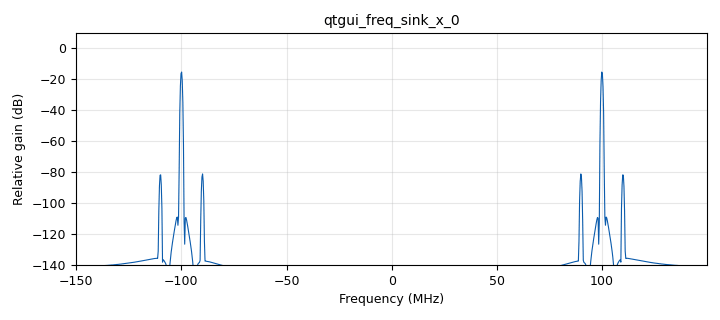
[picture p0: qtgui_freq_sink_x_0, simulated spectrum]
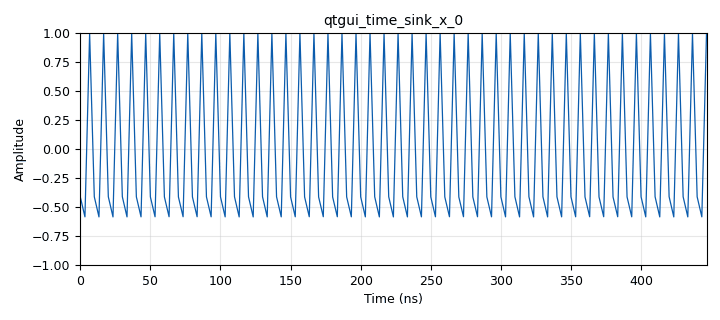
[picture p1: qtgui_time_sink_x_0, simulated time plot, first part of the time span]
<?xml version='1.0' encoding='utf-8'?>
<?grc format='1' created='3.7.9'?>
<flow_graph>
<block>
<key>options</key>
<param><key>id</key><value>top_block</value></param>
<param><key>category</key><value>Custom</value></param>
<param><key>generate_options</key><value>qt_gui</value></param>
</block>
<block>
<key>variable_qtgui_range</key>
<param><key>id</key><value>Amplitude</value></param>
<param><key>value</key><value>0.001</value></param>
<param><key>orient</key><value>Qt.Horizontal</value></param>
<param><key>start</key><value>0</value></param>
<param><key>step</key><value>0.001</value></param>
<param><key>stop</key><value>0.1</value></param>
</block>
<block>
<key>variable_qtgui_range</key>
<param><key>id</key><value>Modulating_Frequency</value></param>
<param><key>value</key><value>10000000</value></param>
<param><key>orient</key><value>Qt.Horizontal</value></param>
<param><key>start</key><value>0</value></param>
<param><key>step</key><value>1</value></param>
<param><key>stop</key><value>50000000</value></param>
</block>
<block>
<key>variable</key>
<param><key>id</key><value>samp_rate</value></param>
<param><key>value</key><value>300000000</value></param>
</block>
<block>
<key>analog_sig_source_x</key>
<param><key>id</key><value>analog_sig_source_x_0</value></param>
<param><key>amp</key><value>Amplitude</value></param>
<param><key>freq</key><value>Modulating_Frequency</value></param>
<param><key>offset</key><value>0</value></param>
<param><key>type</key><value>float</value></param>
<param><key>samp_rate</key><value>samp_rate</value></param>
<param><key>waveform</key><value>analog.GR_SIN_WAVE</value></param>
</block>
<block>
<key>analog_sig_source_x</key>
<param><key>id</key><value>analog_sig_source_x_1</value></param>
<param><key>amp</key><value>1</value></param>
<param><key>freq</key><value>100000000</value></param>
<param><key>offset</key><value>0</value></param>
<param><key>type</key><value>float</value></param>
<param><key>samp_rate</key><value>30000000</value></param>
<param><key>waveform</key><value>analog.GR_SIN_WAVE</value></param>
</block>
<block>
<key>analog_sig_source_x</key>
<param><key>id</key><value>analog_sig_source_x_2</value></param>
<param><key>amp</key><value>1</value></param>
<param><key>freq</key><value>100000000</value></param>
<param><key>offset</key><value>0</value></param>
<param><key>type</key><value>float</value></param>
<param><key>samp_rate</key><value>30000000</value></param>
<param><key>waveform</key><value>analog.GR_COS_WAVE</value></param>
</block>
<block>
<key>blocks_multiply_xx</key>
<param><key>id</key><value>blocks_multiply_xx_0</value></param>
<param><key>type</key><value>float</value></param>
</block>
<block>
<key>blocks_sub_xx</key>
<param><key>id</key><value>blocks_sub_xx_0</value></param>
<param><key>type</key><value>float</value></param>
</block>
<block>
<key>blocks_throttle</key>
<param><key>id</key><value>blocks_throttle_0</value></param>
<param><key>samples_per_second</key><value>samp_rate</value></param>
<param><key>type</key><value>float</value></param>
</block>
<block>
<key>qtgui_freq_sink_x</key>
<param><key>id</key><value>qtgui_freq_sink_x_0</value></param>
<param><key>bw</key><value>samp_rate</value></param>
<param><key>fc</key><value>0</value></param>
<param><key>fftsize</key><value>1024</value></param>
<param><key>showports</key><value>True</value></param>
<param><key>type</key><value>float</value></param>
<param><key>wintype</key><value>firdes.WIN_BLACKMAN_hARRIS</value></param>
</block>
<block>
<key>qtgui_time_sink_x</key>
<param><key>id</key><value>qtgui_time_sink_x_0</value></param>
<param><key>color1</key><value>"blue"</value></param>
<param><key>label1</key><value></value></param>
<param><key>size</key><value>1024</value></param>
<param><key>srate</key><value>samp_rate</value></param>
<param><key>type</key><value>float</value></param>
</block>
<connection><source_block_id>analog_sig_source_x_0</source_block_id><sink_block_id>blocks_multiply_xx_0</sink_block_id><source_key>0</source_key><sink_key>0</sink_key></connection>
<connection><source_block_id>analog_sig_source_x_1</source_block_id><sink_block_id>blocks_multiply_xx_0</sink_block_id><source_key>0</source_key><sink_key>1</sink_key></connection>
<connection><source_block_id>analog_sig_source_x_2</source_block_id><sink_block_id>blocks_sub_xx_0</sink_block_id><source_key>0</source_key><sink_key>0</sink_key></connection>
<connection><source_block_id>blocks_multiply_xx_0</source_block_id><sink_block_id>blocks_sub_xx_0</sink_block_id><source_key>0</source_key><sink_key>1</sink_key></connection>
<connection><source_block_id>blocks_sub_xx_0</source_block_id><sink_block_id>blocks_throttle_0</sink_block_id><source_key>0</source_key><sink_key>0</sink_key></connection>
<connection><source_block_id>blocks_throttle_0</source_block_id><sink_block_id>qtgui_freq_sink_x_0</sink_block_id><source_key>0</source_key><sink_key>0</sink_key></connection>
<connection><source_block_id>blocks_throttle_0</source_block_id><sink_block_id>qtgui_time_sink_x_0</sink_block_id><source_key>0</source_key><sink_key>0</sink_key></connection>
</flow_graph>
